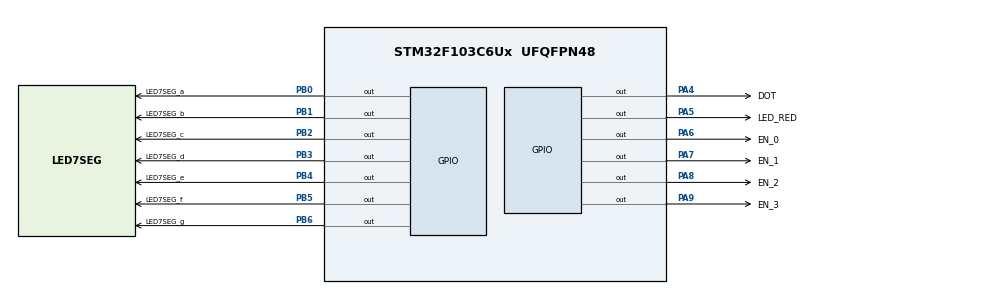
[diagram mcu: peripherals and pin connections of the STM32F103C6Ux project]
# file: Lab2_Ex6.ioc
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Mcu.Family=STM32F1
Mcu.Name=STM32F103C6Ux
Mcu.Package=UFQFPN48
NVIC.PriorityGroup=NVIC_PRIORITYGROUP_4
NVIC.TIM2_IRQn=true\:0\:0\:false\:false\:true\:true\:true
PA4.GPIO_Label=DOT
PA4.Signal=GPIO_Output
PA5.GPIO_Label=LED_RED
PA5.Signal=GPIO_Output
PA6.GPIO_Label=EN_0
PA6.Signal=GPIO_Output
PA7.GPIO_Label=EN_1
PA7.Signal=GPIO_Output
PA8.GPIO_Label=EN_2
PA8.Signal=GPIO_Output
PA9.GPIO_Label=EN_3
PA9.Signal=GPIO_Output
PB0.GPIO_Label=LED7SEG_a
PB0.Signal=GPIO_Output
PB1.GPIO_Label=LED7SEG_b
PB1.Signal=GPIO_Output
PB2.GPIO_Label=LED7SEG_c
PB2.Signal=GPIO_Output
PB3.GPIO_Label=LED7SEG_d
PB3.Signal=GPIO_Output
PB4.GPIO_Label=LED7SEG_e
PB4.Signal=GPIO_Output
PB5.GPIO_Label=LED7SEG_f
PB5.Signal=GPIO_Output
PB6.GPIO_Label=LED7SEG_g
PB6.Signal=GPIO_Output
ProjectManager.HeapSize=0x200
ProjectManager.StackSize=0x400
ProjectManager.TargetToolchain=STM32CubeIDE
RCC.APB1Freq_Value=8000000
RCC.APB2Freq_Value=8000000
TIM2.Period=9
TIM2.Prescaler=7999
VP_SYS_VS_ND.Mode=No_Debug
VP_TIM2_VS_ClockSourceINT.Mode=Internal
board=custom

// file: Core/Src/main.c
/* USER CODE BEGIN Header */
/**
  ******************************************************************************
  * @file           : main.c
  * @brief          : Main program body
  ******************************************************************************
  * @attention
  *
  * <h2><center>&copy; Copyright (c) 2025 STMicroelectronics.
  * All rights reserved.</center></h2>
  *
  * This software component is licensed by ST under BSD 3-Clause license,
  * the "License"; You may not use this file except in compliance with the
  * License. You may obtain a copy of the License at:
  *                        opensource.org/licenses/BSD-3-Clause
  *
  ******************************************************************************
  */
/* USER CODE END Header */
#include "main.h"

/* USER CODE BEGIN Includes */
#include "led7seg.h"
#include "software_timer.h"
/* USER CODE END Includes */

TIM_HandleTypeDef htim2;

/* USER CODE BEGIN PV */
int hour = 15, minute = 8, second = 50;
/* USER CODE END PV */

void SystemClock_Config(void);
static void MX_GPIO_Init(void);
static void MX_TIM2_Init(void);
/* USER CODE BEGIN PFP */
void updateClockBuffer();
/* USER CODE END PFP */

int main(void)
{

  /* MCU Configuration--------------------------------------------------------*/

  /* Reset of all peripherals, Initializes the Flash interface and the Systick. */
  HAL_Init();

  /* Configure the system clock */
  SystemClock_Config();

  /* Initialize all configured peripherals */
  MX_GPIO_Init();
  MX_TIM2_Init();
  /* USER CODE BEGIN 2 */
  HAL_TIM_Base_Start_IT(&htim2);
  HAL_GPIO_WritePin(LED_RED_GPIO_Port, LED_RED_Pin, 1);
  updateClockBuffer();
  update7SEG(index_led++);
  HAL_GPIO_WritePin(DOT_GPIO_Port, DOT_Pin, 0);
  setTimer0(10);
  /* USER CODE END 2 */

  /* Infinite loop */
  /* USER CODE BEGIN WHILE */
  while (1)
  {
  	second++;
  	if (second >= 60){
  		second = 0;
  		minute++;
  	}
  	if (minute >= 60){
  		minute = 0;
  		hour++;
  	}
  	if (hour >= 24){
  		hour = 0;
  	}
  	updateClockBuffer();
  	HAL_Delay(1000);
    /* USER CODE END WHILE */

  }
}

void SystemClock_Config(void)
{
  RCC_OscInitTypeDef RCC_OscInitStruct = {0};
  RCC_ClkInitTypeDef RCC_ClkInitStruct = {0};

  /** Initializes the RCC Oscillators according to the specified parameters
  * in the RCC_OscInitTypeDef structure.
  */
  RCC_OscInitStruct.OscillatorType = RCC_OSCILLATORTYPE_HSI;
  RCC_OscInitStruct.HSIState = RCC_HSI_ON;
  RCC_OscInitStruct.HSICalibrationValue = RCC_HSICALIBRATION_DEFAULT;
  RCC_OscInitStruct.PLL.PLLState = RCC_PLL_NONE;
  if (HAL_RCC_OscConfig(&RCC_OscInitStruct) != HAL_OK)
  {
    Error_Handler();
  }
  /** Initializes the CPU, AHB and APB buses clocks
  */
  RCC_ClkInitStruct.ClockType = RCC_CLOCKTYPE_HCLK|RCC_CLOCKTYPE_SYSCLK
                              |RCC_CLOCKTYPE_PCLK1|RCC_CLOCKTYPE_PCLK2;
  RCC_ClkInitStruct.SYSCLKSource = RCC_SYSCLKSOURCE_HSI;
  RCC_ClkInitStruct.AHBCLKDivider = RCC_SYSCLK_DIV1;
  RCC_ClkInitStruct.APB1CLKDivider = RCC_HCLK_DIV1;
  RCC_ClkInitStruct.APB2CLKDivider = RCC_HCLK_DIV1;

  if (HAL_RCC_ClockConfig(&RCC_ClkInitStruct, FLASH_LATENCY_0) != HAL_OK)
  {
    Error_Handler();
  }
}

static void MX_TIM2_Init(void)
{

  TIM_ClockConfigTypeDef sClockSourceConfig = {0};
  TIM_MasterConfigTypeDef sMasterConfig = {0};

  htim2.Instance = TIM2;
  htim2.Init.Prescaler = 7999;
  htim2.Init.CounterMode = TIM_COUNTERMODE_UP;
  htim2.Init.Period = 9;
  htim2.Init.ClockDivision = TIM_CLOCKDIVISION_DIV1;
  htim2.Init.AutoReloadPreload = TIM_AUTORELOAD_PRELOAD_DISABLE;
  if (HAL_TIM_Base_Init(&htim2) != HAL_OK)
  {
    Error_Handler();
  }
  sClockSourceConfig.ClockSource = TIM_CLOCKSOURCE_INTERNAL;
  if (HAL_TIM_ConfigClockSource(&htim2, &sClockSourceConfig) != HAL_OK)
  {
    Error_Handler();
  }
  sMasterConfig.MasterOutputTrigger = TIM_TRGO_RESET;
  sMasterConfig.MasterSlaveMode = TIM_MASTERSLAVEMODE_DISABLE;
  if (HAL_TIMEx_MasterConfigSynchronization(&htim2, &sMasterConfig) != HAL_OK)
  {
    Error_Handler();
  }

}

static void MX_GPIO_Init(void)
{
  GPIO_InitTypeDef GPIO_InitStruct = {0};

  /* GPIO Ports Clock Enable */
  __HAL_RCC_GPIOA_CLK_ENABLE();
  __HAL_RCC_GPIOB_CLK_ENABLE();

  /*Configure GPIO pin Output Level */
  HAL_GPIO_WritePin(GPIOA, DOT_Pin|LED_RED_Pin|EN_0_Pin|EN_1_Pin
                          |EN_2_Pin|EN_3_Pin, GPIO_PIN_RESET);

  /*Configure GPIO pin Output Level */
  HAL_GPIO_WritePin(GPIOB, LED7SEG_a_Pin|LED7SEG_b_Pin|LED7SEG_c_Pin|LED7SEG_d_Pin
                          |LED7SEG_e_Pin|LED7SEG_f_Pin|LED7SEG_g_Pin, GPIO_PIN_RESET);

  /*Configure GPIO pins : DOT_Pin LED_RED_Pin EN_0_Pin EN_1_Pin
                           EN_2_Pin EN_3_Pin */
  GPIO_InitStruct.Pin = DOT_Pin|LED_RED_Pin|EN_0_Pin|EN_1_Pin
                          |EN_2_Pin|EN_3_Pin;
  GPIO_InitStruct.Mode = GPIO_MODE_OUTPUT_PP;
  GPIO_InitStruct.Pull = GPIO_NOPULL;
  GPIO_InitStruct.Speed = GPIO_SPEED_FREQ_LOW;
  HAL_GPIO_Init(GPIOA, &GPIO_InitStruct);

  /*Configure GPIO pins : LED7SEG_a_Pin LED7SEG_b_Pin LED7SEG_c_Pin LED7SEG_d_Pin
                           LED7SEG_e_Pin LED7SEG_f_Pin LED7SEG_g_Pin */
  GPIO_InitStruct.Pin = LED7SEG_a_Pin|LED7SEG_b_Pin|LED7SEG_c_Pin|LED7SEG_d_Pin
                          |LED7SEG_e_Pin|LED7SEG_f_Pin|LED7SEG_g_Pin;
  GPIO_InitStruct.Mode = GPIO_MODE_OUTPUT_PP;
  GPIO_InitStruct.Pull = GPIO_NOPULL;
  GPIO_InitStruct.Speed = GPIO_SPEED_FREQ_LOW;
  HAL_GPIO_Init(GPIOB, &GPIO_InitStruct);

}

/* USER CODE BEGIN 4 */
int counter_1 = 100;
int counter_2 = 25;
void HAL_TIM_PeriodElapsedCallback(TIM_HandleTypeDef *htim) {
	timer_run();
	--counter_1;
	--counter_2;
	if (counter_1 <= 0) {
		counter_1 = 100;
		toggle_dot();
	}
	if (counter_2 <=0) {
		counter_2 = 25;
		update7SEG(index_led++);
		if (index_led >= 4) {
			index_led = 0;
		}
	}

}

void updateClockBuffer()
{
	led_buffer[0] = hour / 10;
	led_buffer[1] = hour % 10;
	led_buffer[2] = minute / 10;
	led_buffer[3] = minute % 10;
}
/* USER CODE END 4 */

void Error_Handler(void)
{
  __disable_irq();
  while (1)
  {
  }
}

/************************ (C) COPYRIGHT STMicroelectronics *****END OF FILE****/
